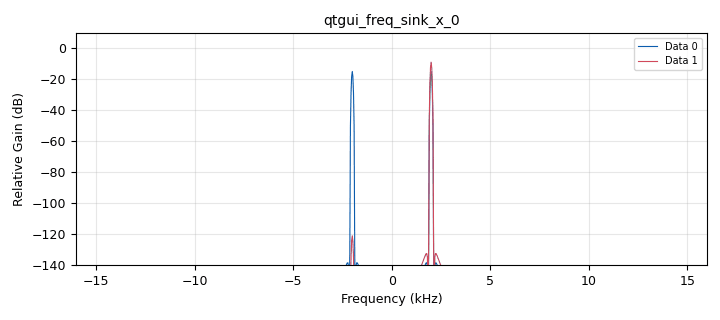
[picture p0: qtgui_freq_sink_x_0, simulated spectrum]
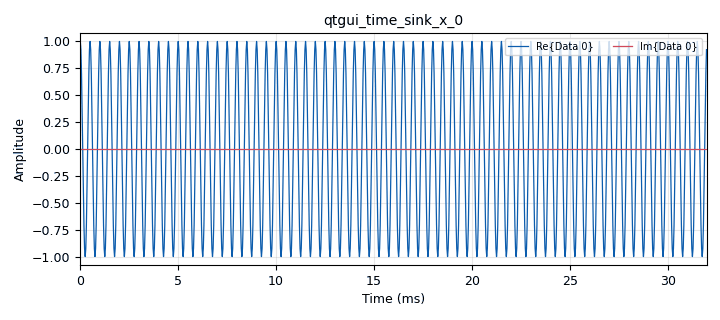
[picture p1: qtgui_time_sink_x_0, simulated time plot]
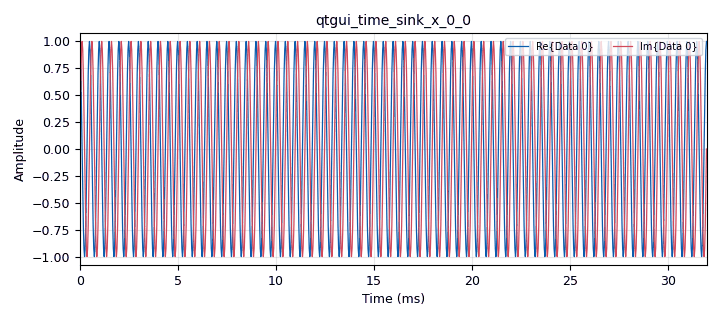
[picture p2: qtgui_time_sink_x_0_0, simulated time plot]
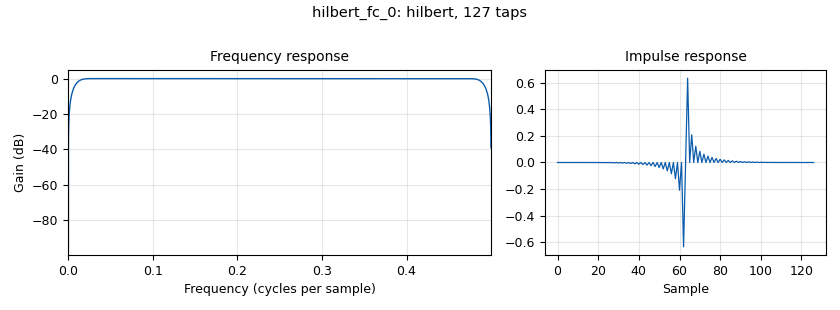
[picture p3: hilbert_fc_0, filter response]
options:
  parameters:
    generate_options: qt_gui
    id: rtl_receive
    output_language: python
    title: Not titled yet
  states: {}

blocks:
- name: Fc
  id: variable_qtgui_range
  parameters:
    label: Frequency Fc (Hz)
    orient: Qt.Horizontal
    start: '0'
    step: '1'
    stop: 4*samp_rate
    value: '2000'
  states: {}
- name: samp_rate
  id: variable
  parameters:
    value: 32e3
  states: {}
- name: analog_sig_source_x_0
  id: analog_sig_source_x
  parameters:
    amp: '1'
    freq: Fc
    offset: '0'
    phase: '0'
    samp_rate: samp_rate
    type: float
    waveform: analog.GR_COS_WAVE
  states: {}
- name: blocks_float_to_complex_0
  id: blocks_float_to_complex
  parameters: {}
  states: {}
- name: blocks_throttle_0
  id: blocks_throttle
  parameters:
    samples_per_second: samp_rate
    type: float
  states: {}
- name: hilbert_fc_0
  id: hilbert_fc
  parameters:
    num_taps: '127'
    win: firdes.WIN_BLACKMAN_hARRIS
  states: {}
- name: qtgui_freq_sink_x_0
  id: qtgui_freq_sink_x
  parameters:
    bw: samp_rate
    fc: '0'
    fftsize: '1024'
    nconnections: '2'
    type: complex
    wintype: firdes.WIN_BLACKMAN_hARRIS
  states: {}
- name: qtgui_time_sink_x_0
  id: qtgui_time_sink_x
  parameters:
    size: '1024'
    srate: samp_rate
    type: complex
  states: {}
- name: qtgui_time_sink_x_0_0
  id: qtgui_time_sink_x
  parameters:
    size: '1024'
    srate: samp_rate
    type: complex
  states: {}

connections:
- [analog_sig_source_x_0, '0', blocks_throttle_0, '0']
- [blocks_float_to_complex_0, '0', qtgui_freq_sink_x_0, '0']
- [blocks_float_to_complex_0, '0', qtgui_time_sink_x_0, '0']
- [blocks_throttle_0, '0', blocks_float_to_complex_0, '0']
- [blocks_throttle_0, '0', hilbert_fc_0, '0']
- [hilbert_fc_0, '0', qtgui_freq_sink_x_0, '1']
- [hilbert_fc_0, '0', qtgui_time_sink_x_0_0, '0']

metadata:
  file_format: 1
